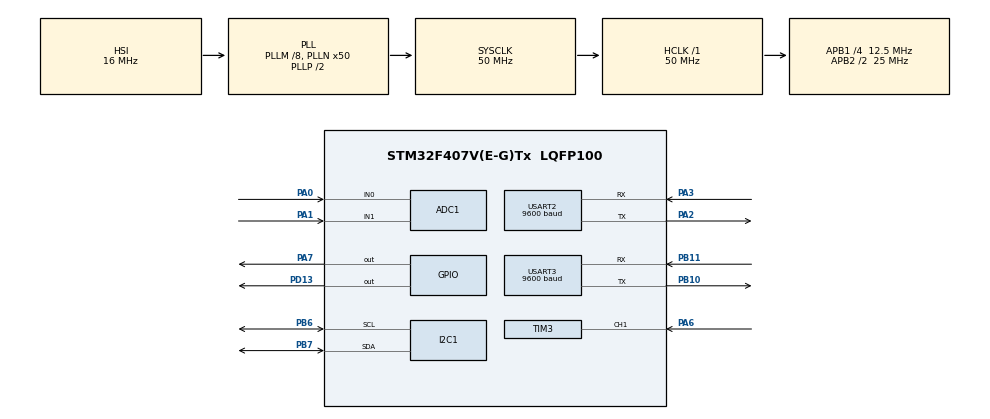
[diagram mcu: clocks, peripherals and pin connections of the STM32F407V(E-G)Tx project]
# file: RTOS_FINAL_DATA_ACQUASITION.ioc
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ADC1.Channel-0\#ChannelRegularConversion=ADC_CHANNEL_0
ADC1.NbrOfConversionFlag=1
ADC1.Rank-0\#ChannelRegularConversion=1
ADC1.SamplingTime-0\#ChannelRegularConversion=ADC_SAMPLETIME_3CYCLES
ADC1.master=1
FREERTOS.INCLUDE_vTaskDelayUntil=1
FREERTOS.Tasks01=defaultTask,-3,128,StartDefaultTask,Default,NULL,Dynamic,NULL,NULL
FREERTOS.configUSE_NEWLIB_REENTRANT=1
Mcu.Family=STM32F4
Mcu.Name=STM32F407V(E-G)Tx
Mcu.Package=LQFP100
NVIC.PriorityGroup=NVIC_PRIORITYGROUP_4
NVIC.TIM1_UP_TIM10_IRQn=true\:15\:0\:false\:false\:true\:false\:false\:true\:true
NVIC.TIM3_IRQn=true\:5\:0\:false\:false\:true\:true\:true\:true\:true
NVIC.TimeBase=TIM1_UP_TIM10_IRQn
NVIC.TimeBaseIP=TIM1
PA0-WKUP.Signal=ADCx_IN0
PA1.Signal=ADCx_IN1
PA2.Mode=Asynchronous
PA2.Signal=USART2_TX
PA3.Mode=Asynchronous
PA3.Signal=USART2_RX
PA6.Signal=S_TIM3_CH1
PA7.Signal=GPIO_Output
PB10.Mode=Asynchronous
PB10.Signal=USART3_TX
PB11.Mode=Asynchronous
PB11.Signal=USART3_RX
PB6.Mode=I2C
PB6.Signal=I2C1_SCL
PB7.Mode=I2C
PB7.Signal=I2C1_SDA
PD13.Signal=GPIO_Output
ProjectManager.HeapSize=0x200
ProjectManager.StackSize=0x400
ProjectManager.TargetToolchain=STM32CubeIDE
RCC.48MHZClocksFreq_Value=14285714.285714285
RCC.AHBFreq_Value=50000000
RCC.APB1CLKDivider=RCC_HCLK_DIV4
RCC.APB1Freq_Value=12500000
RCC.APB1TimFreq_Value=25000000
RCC.APB2CLKDivider=RCC_HCLK_DIV2
RCC.APB2Freq_Value=25000000
RCC.APB2TimFreq_Value=50000000
RCC.CortexFreq_Value=50000000
RCC.HCLKFreq_Value=50000000
RCC.HSE_VALUE=8000000
RCC.HSI_VALUE=16000000
RCC.LSE_VALUE=32768
RCC.PLLM=8
RCC.PLLN=50
RCC.PLLQ=7
RCC.SYSCLKFreq_VALUE=50000000
RCC.SYSCLKSource=RCC_SYSCLKSOURCE_PLLCLK
RCC.VCOOutputFreq_Value=100000000
SH.ADCx_IN0.0=ADC1_IN0,IN0
SH.ADCx_IN1.0=ADC1_IN1,IN1
SH.S_TIM3_CH1.0=TIM3_CH1,Input_Capture1_from_TI1
TIM3.Channel-Input_Capture1_from_TI1=TIM_CHANNEL_1
TIM3.Prescaler=24
USART2.BaudRate=9600
USART2.VirtualMode=VM_ASYNC
USART3.BaudRate=9600
USART3.VirtualMode=VM_ASYNC
VP_FREERTOS_VS_CMSIS_V1.Mode=CMSIS_V1
VP_SYS_VS_tim1.Mode=TIM1
VP_TIM3_VS_ClockSourceINT.Mode=Internal
board=STM32F407G-DISC1

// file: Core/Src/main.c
/* USER CODE BEGIN Header */
/**
  ******************************************************************************
  * @file           : main.c
  * @brief          : Main program body
  ******************************************************************************
  * @attention
  *
  * Copyright (c) 2024 STMicroelectronics.
  * All rights reserved.
  *
  * This software is licensed under terms that can be found in the LICENSE file
  * in the root directory of this software component.
  * If no LICENSE file comes with this software, it is provided AS-IS.
  *
  ******************************************************************************
  */
/* USER CODE END Header */
#include "main.h"
#include "cmsis_os.h"
#include <string.h>
#include "bmp280.h"
#include "stdio.h"

/* USER CODE BEGIN PD */
#define FIXED_POINT_FRACTIONAL_BITS 16
#define FIXED_POINT_ONE (1 << FIXED_POINT_FRACTIONAL_BITS)
#define FIXED_POINT_CONVERT(val) ((val) * FIXED_POINT_ONE)
#define FIXED_POINT_TO_FLOAT(val) ((float)(val) / FIXED_POINT_ONE)
/* USER CODE END PD */

ADC_HandleTypeDef hadc1;

I2C_HandleTypeDef hi2c1;

TIM_HandleTypeDef htim3;

UART_HandleTypeDef huart2;
UART_HandleTypeDef huart3;
osThreadId defaultTaskHandle;
/* USER CODE BEGIN PV */
typedef struct sensordata{int32_t temp;uint32_t pres;uint32_t humd;uint32_t mq135;uint32_t mq2;uint32_t d;int l;}s_data;
/* USER CODE END PV */
s_data s;
char buffer[120];
volatile uint32_t IC_Val1 = 0;
volatile uint32_t IC_Val2 = 0;
volatile uint32_t Difference = 0;
volatile uint8_t Is_First_Captured = 0;  // is the first value captured ?
volatile uint32_t Distance  = 0;
volatile int distance1,distance2;
static int32_t Distance_Q16 = 0;
char msg[100];
xSemaphoreHandle semaphore;
#define TRIG_PIN GPIO_PIN_7
#define TRIG_PORT GPIOA
void SystemClock_Config(void);
static void MX_GPIO_Init(void);
static void MX_TIM3_Init(void);
static void MX_ADC1_Init(void);
static void MX_USART2_UART_Init(void);
static void MX_USART3_UART_Init(void);
static void MX_I2C1_Init(void);
void StartDefaultTask(void const * argument);
void input_capture_handeler(TIM_HandleTypeDef *htim);
/* USER CODE BEGIN PFP */
int _write(int file, char *data, int len) {
    HAL_UART_Transmit(&huart2, (uint8_t*)data, len, 100);
    return len;
}
void send_uart(const char *message) {
    HAL_UART_Transmit(&huart2, (uint8_t*)message, strlen(message), HAL_MAX_DELAY);
}
/**
 * Compensation algorithm is taken from BMP280 datasheet.
 *
 * Return value is in Pa, 24 integer bits and 8 fractional bits.
 */

/* USER CODE END PFP */
uint32_t period;

/*Variable to hold the measured distance*/
float distance;
/* USER CODE END PFP */

/* USER CODE BEGIN 0 */
void vHandlerTask(void *pvParam)
{
	char *pcMessage = (char *)pvParam;
	xSemaphoreTake(semaphore, 0);
	while(1)
	{
		HAL_UART_Transmit(&huart2, (uint8_t *)pcMessage, strlen(pcMessage), HAL_MAX_DELAY);
		xSemaphoreTake(semaphore, portMAX_DELAY);
		 UART_Transmit("semaphore taken\r\n");
		portENTER_CRITICAL();
		input_capture_handeler(&htim3);
		portEXIT_CRITICAL();
	}
	vTaskDelete(NULL);
}

void vUARTSendingTask(void *pvParam)
{
    TickType_t xLastWakeTime;
    const TickType_t xPeriod = pdMS_TO_TICKS(500);  /* 1 second period */
    xLastWakeTime = xTaskGetTickCount();
	char *pcMessage = (char *)pvParam;

	while(1)
	{
		portENTER_CRITICAL();
		HAL_UART_Transmit(&huart2, (uint8_t *)pcMessage, strlen(pcMessage), HAL_MAX_DELAY);
        snprintf(buffer,sizeof(buffer),"T:%ld.%02ld,P:%ld.%02ld,H:%ld.%02ld,mq135:%lu,mq2:%lu,L:%lu,L:%d\r\n",
     		   s.temp / 100, s.temp % 100,s.pres / 256, (s.pres % 256) * 100 / 256,
				   s.humd / 1024, (s.humd % 1024) * 100 / 1024,s.mq135,s.mq2,s.d,s.l);
        send_uart(buffer);
        HAL_UART_Transmit(&huart3, (uint8_t*)buffer, strlen(buffer), HAL_MAX_DELAY);
		portEXIT_CRITICAL();
		vTaskDelayUntil(&xLastWakeTime, xPeriod);
	}
	vTaskDelete(NULL);
}

void vBMP280Task(void*pvParam)
{
    TickType_t xLastWakeTime;
    const TickType_t xPeriod = pdMS_TO_TICKS(1000);  /* 1 second period */
    xLastWakeTime = xTaskGetTickCount();
    char *pcMessage = (char *)pvParam;
    bmp280_params_t params;
    bmp280_init_default_params(&params);

    BMP280_HandleTypedef bmp280;
    bmp280.addr = BMP280_I2C_ADDRESS_0;
    if (!bmp280_init(&bmp280, &params)) {
        strcpy(pcMessage,"\r\nBMP280 initialization failed");
		HAL_UART_Transmit(&huart2, (uint8_t *)pcMessage, strlen(pcMessage), HAL_MAX_DELAY);

        while (1);
    }

    int32_t temperature;
    uint32_t pressure, humidity;

   while(1)
   {
	   bmp280_force_measurement(&bmp280);
	   portENTER_CRITICAL();
		HAL_UART_Transmit(&huart2, (uint8_t *)pcMessage, strlen(pcMessage), HAL_MAX_DELAY);
		vTaskDelay(pdMS_TO_TICKS(100));
		   if (!bmp280_is_measuring(&bmp280)) {
			   if (bmp280_read_fixed(&bmp280, &temperature, &pressure, &humidity)) {
						s.temp = temperature;
						s.pres = pressure;
						s.humd = humidity;
			   } else {
				   send_uart("Failed to read values\r\n");
			   }
		   }
		   vTaskDelay(pdMS_TO_TICKS(1000));
       portEXIT_CRITICAL();
	   vTaskDelayUntil(&xLastWakeTime, xPeriod);
   }
}

void vADCTask(void *pvParam)
{
    char *pcMessage = (char *)pvParam;
    TickType_t xLastWakeTime;
    const TickType_t xPeriod = pdMS_TO_TICKS(500);  /* 5 second period */
    xLastWakeTime = xTaskGetTickCount();

    ADC_ChannelConfTypeDef sConfig = {0};

    while (1)
    {
        portENTER_CRITICAL();
        HAL_UART_Transmit(&huart2, (uint8_t *)pcMessage, strlen(pcMessage), HAL_MAX_DELAY);

        // Configure ADC to read from channel 0
        sConfig.Channel = ADC_CHANNEL_0;
        sConfig.Rank = 1;
        sConfig.SamplingTime = ADC_SAMPLETIME_3CYCLES;
        if (HAL_ADC_ConfigChannel(&hadc1, &sConfig) != HAL_OK)
        {
            Error_Handler();
        }

        // Start ADC Conversion
        HAL_ADC_Start(&hadc1);
        // Poll ADC1 Peripheral & TimeOut = 10mSec
        if (HAL_ADC_PollForConversion(&hadc1, 10) == HAL_OK)
        {
            // Read the ADC converted values
            s.mq135 = HAL_ADC_GetValue(&hadc1);
        }
        HAL_ADC_Stop(&hadc1);

        // Configure ADC to read from channel 1
        sConfig.Channel = ADC_CHANNEL_1;
        if (HAL_ADC_ConfigChannel(&hadc1, &sConfig) != HAL_OK)
        {
            Error_Handler();
        }

        // Start ADC Conversion
        HAL_ADC_Start(&hadc1);
        // Poll ADC1 Peripheral & TimeOut = 10mSec
        if (HAL_ADC_PollForConversion(&hadc1, 10) == HAL_OK)
        {
            // Read the ADC converted values
            s.mq2 = HAL_ADC_GetValue(&hadc1);
        }
        HAL_ADC_Stop(&hadc1);

        portEXIT_CRITICAL();
        vTaskDelayUntil(&xLastWakeTime, xPeriod);
    }
    vTaskDelete(NULL);
}

int FixedPointToString(int32_t fixedPointValue, char *buffer, int bufferSize)
{
    // Extract integer and fractional parts
    int32_t integerPart = fixedPointValue >> FIXED_POINT_FRACTIONAL_BITS;
    int32_t fractionalPart = fixedPointValue & (FIXED_POINT_ONE - 1);

    // Format as a string with 2 decimal places
    snprintf(buffer, bufferSize, "%d.%02d", integerPart, (fractionalPart * 100) >> FIXED_POINT_FRACTIONAL_BITS);
    return integerPart;
}

/* USER CODE BEGIN 0 */
void delay(uint16_t time)
{
    __HAL_TIM_SET_COUNTER(&htim3, 0);
    while (__HAL_TIM_GET_COUNTER(&htim3) < time);
}

void UART_Transmit(const char *msg)
{
    HAL_UART_Transmit(&huart2, (uint8_t*)msg, strlen(msg), HAL_MAX_DELAY);
}

void HCSR04_Read(void)
{
    HAL_GPIO_WritePin(TRIG_PORT, TRIG_PIN, GPIO_PIN_SET);  // pull the TRIG pin HIGH
    delay(10);  // wait for 10 us
    HAL_GPIO_WritePin(TRIG_PORT, TRIG_PIN, GPIO_PIN_RESET);  // pull the TRIG pin low
    __HAL_TIM_ENABLE_IT(&htim3, TIM_IT_CC1);
}

void vUltrasonicTask(void *argument)
{
    char *pcMessage = (char *)argument;
    TickType_t xLastWakeTime;
    const TickType_t xPeriod = pdMS_TO_TICKS(1000);  /* 5 second period */
    xLastWakeTime = xTaskGetTickCount();
    for (;;)
    {
        HAL_UART_Transmit(&huart2, (uint8_t *)pcMessage, strlen(pcMessage), HAL_MAX_DELAY);
    	portENTER_CRITICAL();
        HCSR04_Read(); // Trigger sensor reading
        osDelay(200); // Wait for 2 seconds
        portEXIT_CRITICAL();
        vTaskDelayUntil(&xLastWakeTime, xPeriod);
    }
    vTaskDelete(NULL);
}
/* USER CODE END 0 */

int main(void)
{

  /* MCU Configuration--------------------------------------------------------*/

  /* Reset of all peripherals, Initializes the Flash interface and the Systick. */
  HAL_Init();

  /* USER CODE BEGIN Init */
	BaseType_t xRet;
	char * pcMessage = "This is UART Demo\r\n";
  /* USER CODE END Init */
  /* Configure the system clock */
  SystemClock_Config();

  /* Initialize all configured peripherals */
  MX_GPIO_Init();
  MX_TIM3_Init();
  MX_ADC1_Init();
  MX_USART2_UART_Init();
  MX_USART3_UART_Init();
  MX_I2C1_Init();
  /* USER CODE BEGIN 2 */
  HAL_TIM_IC_Start_IT(&htim3, TIM_CHANNEL_1);
  /* USER CODE END 2 */

  vSemaphoreCreateBinary(semaphore);

  /* Create the thread(s) */
  /* definition and creation of defaultTask */
  osThreadDef(defaultTask, StartDefaultTask, osPriorityIdle, 0, 128);
  defaultTaskHandle = osThreadCreate(osThread(defaultTask), NULL);

  /* USER CODE BEGIN RTOS_THREADS */
  /* add threads, ... */
  xRet = xTaskCreate(vUARTSendingTask, "UART1 Task", configMINIMAL_STACK_SIZE, "UART Task\r\n", 1, NULL);
       if(xRet != pdTRUE)
  	      Error_Handler();
  xRet = xTaskCreate(vBMP280Task, "bmp280 Task", 1024, "bmp280 task\r\n", 3, NULL);
       if(xRet != pdTRUE)
     	  Error_Handler();
  xRet = xTaskCreate(vADCTask, "adc_task", 128, "adc task\r\n", 2, NULL);
       if(xRet != pdTRUE)
       	  Error_Handler();
  xRet = xTaskCreate( vUltrasonicTask, "ultrasonic_task", 128, "ultrasonic task\r\n", 4, NULL);
       if(xRet != pdTRUE)
       	  Error_Handler();
  xRet = xTaskCreate( vHandlerTask, "handler_task", 128, "handler task\r\n", 5, NULL);
        if(xRet != pdTRUE)
          Error_Handler();
  /* USER CODE END RTOS_THREADS */

  /* Start scheduler */
  osKernelStart();

  /* We should never get here as control is now taken by the scheduler */

  /* Infinite loop */
  while (1)
  {

  }
}

void SystemClock_Config(void)
{
  RCC_OscInitTypeDef RCC_OscInitStruct = {0};
  RCC_ClkInitTypeDef RCC_ClkInitStruct = {0};

  /** Configure the main internal regulator output voltage
  */
  __HAL_RCC_PWR_CLK_ENABLE();
  __HAL_PWR_VOLTAGESCALING_CONFIG(PWR_REGULATOR_VOLTAGE_SCALE1);

  /** Initializes the RCC Oscillators according to the specified parameters
  * in the RCC_OscInitTypeDef structure.
  */
  RCC_OscInitStruct.OscillatorType = RCC_OSCILLATORTYPE_HSI;
  RCC_OscInitStruct.HSIState = RCC_HSI_ON;
  RCC_OscInitStruct.HSICalibrationValue = RCC_HSICALIBRATION_DEFAULT;
  RCC_OscInitStruct.PLL.PLLState = RCC_PLL_ON;
  RCC_OscInitStruct.PLL.PLLSource = RCC_PLLSOURCE_HSI;
  RCC_OscInitStruct.PLL.PLLM = 8;
  RCC_OscInitStruct.PLL.PLLN = 50;
  RCC_OscInitStruct.PLL.PLLP = RCC_PLLP_DIV2;
  RCC_OscInitStruct.PLL.PLLQ = 7;
  if (HAL_RCC_OscConfig(&RCC_OscInitStruct) != HAL_OK)
  {
    Error_Handler();
  }

  /** Initializes the CPU, AHB and APB buses clocks
  */
  RCC_ClkInitStruct.ClockType = RCC_CLOCKTYPE_HCLK|RCC_CLOCKTYPE_SYSCLK
                              |RCC_CLOCKTYPE_PCLK1|RCC_CLOCKTYPE_PCLK2;
  RCC_ClkInitStruct.SYSCLKSource = RCC_SYSCLKSOURCE_PLLCLK;
  RCC_ClkInitStruct.AHBCLKDivider = RCC_SYSCLK_DIV1;
  RCC_ClkInitStruct.APB1CLKDivider = RCC_HCLK_DIV4;
  RCC_ClkInitStruct.APB2CLKDivider = RCC_HCLK_DIV2;

  if (HAL_RCC_ClockConfig(&RCC_ClkInitStruct, FLASH_LATENCY_1) != HAL_OK)
  {
    Error_Handler();
  }
}

static void MX_ADC1_Init(void)
{

  ADC_ChannelConfTypeDef sConfig = {0};

  /** Configure the global features of the ADC (Clock, Resolution, Data Alignment and number of conversion)
  */
  hadc1.Instance = ADC1;
  hadc1.Init.ClockPrescaler = ADC_CLOCK_SYNC_PCLK_DIV2;
  hadc1.Init.Resolution = ADC_RESOLUTION_12B;
  hadc1.Init.ScanConvMode = DISABLE;
  hadc1.Init.ContinuousConvMode = DISABLE;
  hadc1.Init.DiscontinuousConvMode = DISABLE;
  hadc1.Init.ExternalTrigConvEdge = ADC_EXTERNALTRIGCONVEDGE_NONE;
  hadc1.Init.ExternalTrigConv = ADC_SOFTWARE_START;
  hadc1.Init.DataAlign = ADC_DATAALIGN_RIGHT;
  hadc1.Init.NbrOfConversion = 1;
  hadc1.Init.DMAContinuousRequests = DISABLE;
  hadc1.Init.EOCSelection = ADC_EOC_SINGLE_CONV;
  if (HAL_ADC_Init(&hadc1) != HAL_OK)
  {
    Error_Handler();
  }

  /** Configure for the selected ADC regular channel its corresponding rank in the sequencer and its sample time.
  */
  sConfig.Channel = ADC_CHANNEL_0;
  sConfig.Rank = 1;
  sConfig.SamplingTime = ADC_SAMPLETIME_3CYCLES;
  if (HAL_ADC_ConfigChannel(&hadc1, &sConfig) != HAL_OK)
  {
    Error_Handler();
  }

}

static void MX_I2C1_Init(void)
{

  hi2c1.Instance = I2C1;
  hi2c1.Init.ClockSpeed = 100000;
  hi2c1.Init.DutyCycle = I2C_DUTYCYCLE_2;
  hi2c1.Init.OwnAddress1 = 0;
  hi2c1.Init.AddressingMode = I2C_ADDRESSINGMODE_7BIT;
  hi2c1.Init.DualAddressMode = I2C_DUALADDRESS_DISABLE;
  hi2c1.Init.OwnAddress2 = 0;
  hi2c1.Init.GeneralCallMode = I2C_GENERALCALL_DISABLE;
  hi2c1.Init.NoStretchMode = I2C_NOSTRETCH_DISABLE;
  if (HAL_I2C_Init(&hi2c1) != HAL_OK)
  {
    Error_Handler();
  }

}

static void MX_TIM3_Init(void)
{

  TIM_ClockConfigTypeDef sClockSourceConfig = {0};
  TIM_MasterConfigTypeDef sMasterConfig = {0};
  TIM_IC_InitTypeDef sConfigIC = {0};

  htim3.Instance = TIM3;
  htim3.Init.Prescaler = 24;
  htim3.Init.CounterMode = TIM_COUNTERMODE_UP;
  htim3.Init.Period = 65535;
  htim3.Init.ClockDivision = TIM_CLOCKDIVISION_DIV1;
  htim3.Init.AutoReloadPreload = TIM_AUTORELOAD_PRELOAD_DISABLE;
  if (HAL_TIM_Base_Init(&htim3) != HAL_OK)
  {
    Error_Handler();
  }
  sClockSourceConfig.ClockSource = TIM_CLOCKSOURCE_INTERNAL;
  if (HAL_TIM_ConfigClockSource(&htim3, &sClockSourceConfig) != HAL_OK)
  {
    Error_Handler();
  }
  if (HAL_TIM_IC_Init(&htim3) != HAL_OK)
  {
    Error_Handler();
  }
  sMasterConfig.MasterOutputTrigger = TIM_TRGO_RESET;
  sMasterConfig.MasterSlaveMode = TIM_MASTERSLAVEMODE_DISABLE;
  if (HAL_TIMEx_MasterConfigSynchronization(&htim3, &sMasterConfig) != HAL_OK)
  {
    Error_Handler();
  }
  sConfigIC.ICPolarity = TIM_INPUTCHANNELPOLARITY_RISING;
  sConfigIC.ICSelection = TIM_ICSELECTION_DIRECTTI;
  sConfigIC.ICPrescaler = TIM_ICPSC_DIV1;
  sConfigIC.ICFilter = 0;
  if (HAL_TIM_IC_ConfigChannel(&htim3, &sConfigIC, TIM_CHANNEL_1) != HAL_OK)
  {
    Error_Handler();
  }

}

static void MX_USART2_UART_Init(void)
{

  huart2.Instance = USART2;
  huart2.Init.BaudRate = 9600;
  huart2.Init.WordLength = UART_WORDLENGTH_8B;
  huart2.Init.StopBits = UART_STOPBITS_1;
  huart2.Init.Parity = UART_PARITY_NONE;
  huart2.Init.Mode = UART_MODE_TX_RX;
  huart2.Init.HwFlowCtl = UART_HWCONTROL_NONE;
  huart2.Init.OverSampling = UART_OVERSAMPLING_16;
  if (HAL_UART_Init(&huart2) != HAL_OK)
  {
    Error_Handler();
  }

}

static void MX_USART3_UART_Init(void)
{

  huart3.Instance = USART3;
  huart3.Init.BaudRate = 9600;
  huart3.Init.WordLength = UART_WORDLENGTH_8B;
  huart3.Init.StopBits = UART_STOPBITS_1;
  huart3.Init.Parity = UART_PARITY_NONE;
  huart3.Init.Mode = UART_MODE_TX_RX;
  huart3.Init.HwFlowCtl = UART_HWCONTROL_NONE;
  huart3.Init.OverSampling = UART_OVERSAMPLING_16;
  if (HAL_UART_Init(&huart3) != HAL_OK)
  {
    Error_Handler();
  }

}
static void MX_GPIO_Init(void)
{
  GPIO_InitTypeDef GPIO_InitStruct = {0};

  /* GPIO Ports Clock Enable */
  __HAL_RCC_GPIOA_CLK_ENABLE();
  __HAL_RCC_GPIOD_CLK_ENABLE();
  __HAL_RCC_GPIOB_CLK_ENABLE();

  /*Configure GPIO pin Output Level */
  HAL_GPIO_WritePin(GPIOA, GPIO_PIN_7, GPIO_PIN_RESET);

  /*Configure GPIO pin Output Level */
  HAL_GPIO_WritePin(GPIOD, GPIO_PIN_13, GPIO_PIN_RESET);

  /*Configure GPIO pin : PA7 */
  GPIO_InitStruct.Pin = GPIO_PIN_7;
  GPIO_InitStruct.Mode = GPIO_MODE_OUTPUT_PP;
  GPIO_InitStruct.Pull = GPIO_NOPULL;
  GPIO_InitStruct.Speed = GPIO_SPEED_FREQ_LOW;
  HAL_GPIO_Init(GPIOA, &GPIO_InitStruct);

  /*Configure GPIO pin : PD13 */
  GPIO_InitStruct.Pin = GPIO_PIN_13;
  GPIO_InitStruct.Mode = GPIO_MODE_OUTPUT_PP;
  GPIO_InitStruct.Pull = GPIO_NOPULL;
  GPIO_InitStruct.Speed = GPIO_SPEED_FREQ_LOW;
  HAL_GPIO_Init(GPIOD, &GPIO_InitStruct);

}

void StartDefaultTask(void const * argument)
{
  for(;;)
  {
    osDelay(1);
  }
}

//void HAL_TIM_PeriodElapsedCallback(TIM_HandleTypeDef *htim)
//{
//  /* USER CODE BEGIN Callback 0 */
//
//  /* USER CODE END Callback 0 */
//  if (htim->Instance == TIM1) {
//    HAL_IncTick();
//  }
//  /* USER CODE BEGIN Callback 1 */
//
//  /* USER CODE END Callback 1 */
//}

void input_capture_handeler(TIM_HandleTypeDef *htim)
{
	if (htim->Instance == TIM3)
	    {
	        if (__HAL_TIM_GET_IT_SOURCE(htim, TIM_IT_CC1) != RESET)
	        {
	            HAL_GPIO_TogglePin(GPIOD, GPIO_PIN_13);

	            if (Is_First_Captured == 0) // If the first value is not captured
	            {
	                IC_Val1 = HAL_TIM_ReadCapturedValue(htim, TIM_CHANNEL_1); // Read the first value
	                Is_First_Captured = 1;  // Set the first captured as true
	                // Now change the polarity to falling edge
	                __HAL_TIM_SET_CAPTUREPOLARITY(htim, TIM_CHANNEL_1, TIM_INPUTCHANNELPOLARITY_FALLING);
	                snprintf(msg, sizeof(msg), "First value captured: %lu\r\n", IC_Val1);
	                UART_Transmit(msg);
	                memset(msg, 0, sizeof(msg));
	            }
	            else if (Is_First_Captured == 1)   // If the first value is already captured
	            {
	                IC_Val2 = HAL_TIM_ReadCapturedValue(htim, TIM_CHANNEL_1);  // Read the second value
	                __HAL_TIM_SET_COUNTER(htim, 0);  // Reset the counter
	                // Set polarity to rising edge
	                if (IC_Val2 > IC_Val1)
	                {
	                    Difference = IC_Val2 - IC_Val1;
	                }
	                else if (IC_Val1 > IC_Val2)
	                {
	                    Difference = (0xffff - IC_Val1) + IC_Val2;
	                }
	                else if(IC_Val1 == IC_Val2)
	                {
	                	Difference = 0;
	                }
	                Distance = Difference * 0.034 / 2;
	                distance1 = Distance/10;
	                distance2 = Distance%10;
	                distance1 = distance1*10+distance2;
//	                Distance_Q16 = (Difference * FIXED_POINT_CONVERT(34)) / 2; // 0.034 * 2 in Q16.16
//
//	                // Convert fixed-point distance to string
//	                char distanceStr[20];
//	                s.l = FixedPointToString(Distance_Q16, distanceStr, sizeof(distanceStr));
                    s.l = distance1;
	                __HAL_TIM_SET_CAPTUREPOLARITY(htim, TIM_CHANNEL_1, TIM_INPUTCHANNELPOLARITY_RISING);
	                __HAL_TIM_DISABLE_IT(htim, TIM_IT_CC1);
	                Is_First_Captured = 0; // set it back to false
	            }
	        }
	    }
}
void HAL_TIM_IC_CaptureCallback(TIM_HandleTypeDef *htim)
{
	static signed portBASE_TYPE xHigherPriorityTaskWoken;
	  xHigherPriorityTaskWoken = pdFALSE;
	  /* 'Give' the semaphore to unblock the task. */
	  xSemaphoreGiveFromISR(semaphore, (signed portBASE_TYPE*)&xHigherPriorityTaskWoken );
	  portEND_SWITCHING_ISR( xHigherPriorityTaskWoken );
	  UART_Transmit("semarphore given\r\n");
}

void Error_Handler(void)
{
  __disable_irq();
  while (1)
  {
  }
}
